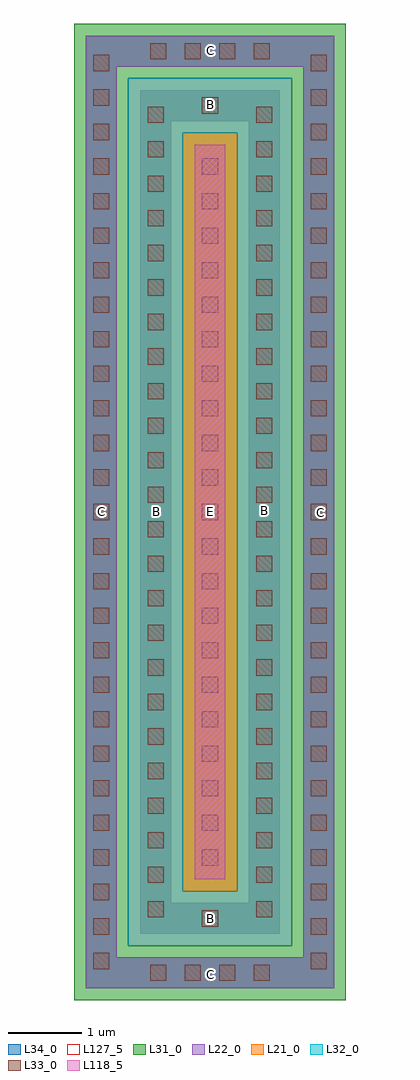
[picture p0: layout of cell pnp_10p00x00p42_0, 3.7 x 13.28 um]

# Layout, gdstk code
import gdstk
lib = gdstk.Library(unit=1e-6, precision=1e-09)
def R(c, l, rs):  # rectangles x0, y0, x1, y1
    for r in rs: c.add(gdstk.rectangle(r[:2], r[2:], *l))
def A(c, l, x, y, w, h, nx, ny, dx, dy):  # array of equal rectangles
    R(c, l, [(x+i*dx, y+j*dy, x+i*dx+w, y+j*dy+h) for i in range(nx) for j in range(ny)])
def P(c, l, *ps):  # polygons
    for p in ps: c.add(gdstk.Polygon(p, *l))
L21_0 = (21, 0)
L22_0 = (22, 0)
L31_0 = (31, 0)
L32_0 = (32, 0)
L33_0 = (33, 0)
L34_0 = (34, 0)
L118_5 = (118, 5)
L127_5 = (127, 5)

pnp_10p00x00p42_0 = lib.new_cell('pnp_10p00x00p42_0')
R(pnp_10p00x00p42_0, L21_0, [(-1.11,-5.9,1.11,5.9)])
R(pnp_10p00x00p42_0, L22_0, [(-0.21,-5,0.21,5)])
P(pnp_10p00x00p42_0, L22_0, [(-0.95,-5.74),(-0.95,5.74),(0.53,5.74),(0.53,5.32),(-0.53,5.32),(-0.53,-5.32),(0.53,-5.32),(0.53,5.74),(0.95,5.74),(0.95,-5.74)],
  [(-1.69,-6.48),(-1.69,6.48),(1.27,6.48),(1.27,6.06),(-1.27,6.06),(-1.27,-6.06),(1.27,-6.06),(1.27,6.48),(1.69,6.48),(1.69,-6.48)])
R(pnp_10p00x00p42_0, L31_0, [(-0.37,-5.16,0.37,5.16)])
P(pnp_10p00x00p42_0, L31_0, [(-1.85,-6.64),(-1.85,6.64),(1.11,6.64),(1.11,5.9),(-1.11,5.9),(-1.11,-5.9),(1.11,-5.9),(1.11,6.64),(1.85,6.64),(1.85,-6.64)])
P(pnp_10p00x00p42_0, L32_0, [(-1.11,-5.9),(-1.11,5.9),(0.37,5.9),(0.37,5.16),(-0.37,5.16),(-0.37,-5.16),(0.37,-5.16),(0.37,5.9),(1.11,5.9),(1.11,-5.9)])
A(pnp_10p00x00p42_0, L33_0, -0.815, -6.38, 0.22, 0.22, 4, 2, 0.47, 12.54)
A(pnp_10p00x00p42_0, L33_0, -1.59, -6.22, 0.22, 0.22, 1, 3, 0, 0.47)
A(pnp_10p00x00p42_0, L33_0, 1.37, -6.22, 0.22, 0.22, 1, 3, 0, 0.47)
A(pnp_10p00x00p42_0, L33_0, -0.85, -5.515, 0.22, 0.22, 1, 24, 0, 0.47)
A(pnp_10p00x00p42_0, L33_0, 0.63, -5.515, 0.22, 0.22, 1, 24, 0, 0.47)
A(pnp_10p00x00p42_0, L33_0, -1.59, -4.81, 0.22, 0.22, 3, 21, 1.48, 0.47)
A(pnp_10p00x00p42_0, L33_0, -1.59, 5.06, 0.22, 0.22, 1, 3, 0, 0.47)
A(pnp_10p00x00p42_0, L33_0, 1.37, 5.06, 0.22, 0.22, 1, 3, 0, 0.47)
R(pnp_10p00x00p42_0, L33_0, [(-0.11,-5.64,0.11,-5.42), (-0.11,5.42,0.11,5.64)])
R(pnp_10p00x00p42_0, L34_0, [(-1.69,-6.48,1.69,-6.06), (-1.69,-6.48,-1.27,6.48), (1.27,-6.48,1.69,6.48), (-0.95,-5.74,0.95,-5.32), (-0.95,-5.74,-0.53,5.74), (0.53,-5.74,0.95,5.74), (-0.21,-5,0.21,5), (-0.21,-5,0.21,5), (-0.95,5.32,0.95,5.74), (-1.69,6.06,1.69,6.48)])
P(pnp_10p00x00p42_0, L34_0, [(-0.95,-5.74),(-0.95,5.74),(0.53,5.74),(0.53,5.32),(-0.53,5.32),(-0.53,-5.32),(0.53,-5.32),(0.53,5.74),(0.95,5.74),(0.95,-5.74)],
  [(-1.69,-6.48),(-1.69,6.48),(1.27,6.48),(1.27,6.06),(-1.27,6.06),(-1.27,-6.06),(1.27,-6.06),(1.27,6.48),(1.69,6.48),(1.69,-6.48)])
R(pnp_10p00x00p42_0, L118_5, [(-0.21,-5,0.21,5)])
R(pnp_10p00x00p42_0, L127_5, [(-1.85,-6.64,1.85,6.64)])
pnp_10p00x00p42_0.add(gdstk.Label('E', (0,0), layer=34, texttype=0))
pnp_10p00x00p42_0.add(gdstk.Label('B', (0.005,5.54), layer=34, texttype=0))
pnp_10p00x00p42_0.add(gdstk.Label('B', (0.735,0.015), layer=34, texttype=0))
pnp_10p00x00p42_0.add(gdstk.Label('B', (0.005,-5.53), layer=34, texttype=0))
pnp_10p00x00p42_0.add(gdstk.Label('B', (-0.725,0.005), layer=34, texttype=0))
pnp_10p00x00p42_0.add(gdstk.Label('C', (0,-6.295), layer=34, texttype=0))
pnp_10p00x00p42_0.add(gdstk.Label('C', (1.5,-0.005), layer=34, texttype=0))
pnp_10p00x00p42_0.add(gdstk.Label('C', (0,6.28), layer=34, texttype=0))
pnp_10p00x00p42_0.add(gdstk.Label('C', (-1.475,0.01), layer=34, texttype=0))

lib.write_gds('pnp_10p00x00p42_0.gds')
